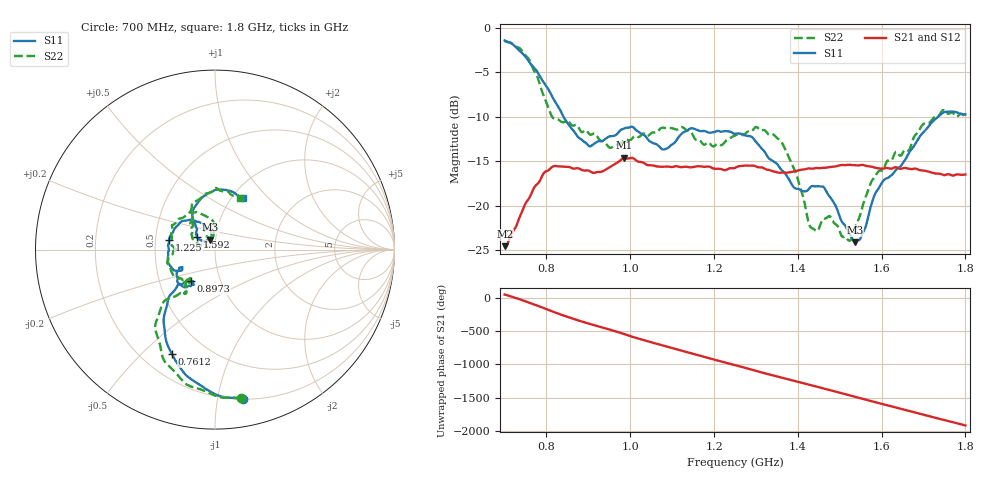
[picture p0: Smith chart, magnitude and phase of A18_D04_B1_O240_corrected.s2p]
! Created with skrf 1.9.0 (http://scikit-rf.org).
# Hz S RI R 50.0
!freq ReS11 ImS11 ReS21 ImS21 ReS12 ImS12 ReS22 ImS22
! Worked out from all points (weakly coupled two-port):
!   1601 points, 700 MHz to 1.8 GHz, reference 50 ohm
!   highest |S21| = -14.63 dB at 986 MHz (marker M1); lowest = -24.6 dB at 700.7 MHz (marker M2)
!   lowest |S11| = -24.1 dB at 1.537 GHz (marker M3), VSWR 1.13, Z = 47.1 + j5.32 ohm
!   |S11| at or under -10 dB: 840.3 MHz to 1.735 GHz (894.8 MHz wide, 69.5 % of centre)
!   |S22| runs from -24.0 to -1.5 dB; largest |S21 - S12| = 0.0034
!   S11 on the Smith chart (normalised r, x): 700 MHz: 0.20, -1.19; 761.2 MHz: 0.32, -0.62; 897.3 MHz: 0.72, -0.27; 1.225 GHz: 0.59, +0.07; 1.592 GHz: 0.81, +0.12; 1.8 GHz: 1.12, +0.72
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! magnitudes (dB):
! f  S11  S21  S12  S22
! 700 MHz  -1.4  -24.6  -24.3  -1.5
! 700.7 MHz  -1.5  -24.6  -24.3  -1.5
! 761.2 MHz  -4.0  -18.9  -18.8  -3.9
! 814.1 MHz  -7.8  -15.6  -15.7  -10.1
! 883.6 MHz  -12.6  -16.0  -15.9  -11.7
! 897.3 MHz  -13.1  -16.0  -16.1  -11.7
! 951.6 MHz  -12.2  -15.7  -15.7  -13.5
! 986 MHz  -11.3  -14.6  -14.7  -12.6
! 1.067 GHz  -13.3  -15.6  -15.6  -11.6
! 1.225 GHz  -11.6  -16.0  -16.0  -12.9
! 1.25 GHz  -11.9  -15.8  -15.7  -12.1
! 1.302 GHz  -12.9  -15.6  -15.6  -11.2
! 1.359 GHz  -15.9  -16.3  -16.3  -12.7
! 1.394 GHz  -18.1  -16.1  -16.1  -16.2
! 1.434 GHz  -17.8  -15.9  -15.8  -22.6
! 1.464 GHz  -18.0  -15.8  -15.7  -21.5
! 1.522 GHz  -23.0  -15.4  -15.4  -23.9
! 1.537 GHz  -24.1  -15.5  -15.5  -22.5
! 1.592 GHz  -18.1  -15.8  -15.8  -16.2
! 1.617 GHz  -16.8  -15.8  -15.8  -14.9
! 1.74 GHz  -9.8  -16.4  -16.5  -9.6
! 1.8 GHz  -9.8  -16.5  -16.5  -10.0
